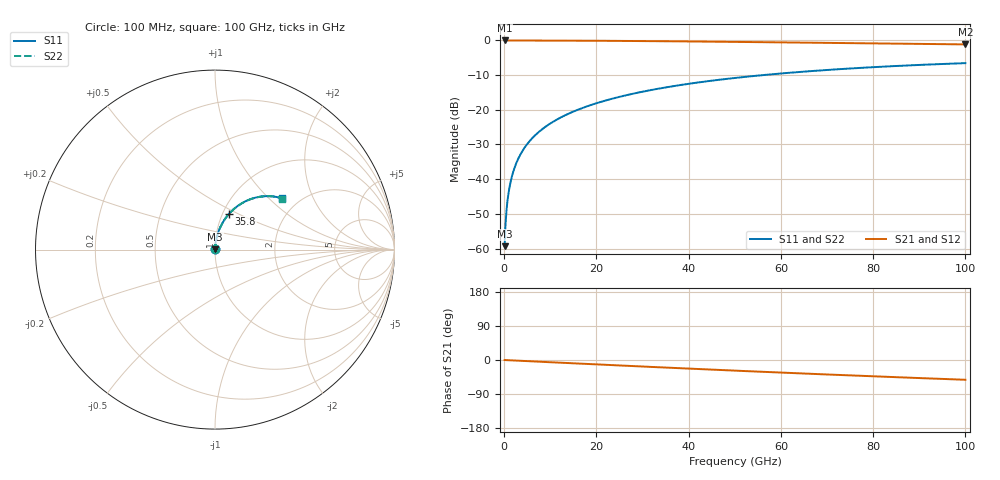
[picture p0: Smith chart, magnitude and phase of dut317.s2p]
! Touchstone file exported from HFSS 2026.1.0
!  File:  C:/ffzhzh/LocalFiles/Ansys_Project_Files/temp_train_RDL_317_1783502641_9504.aedt
!  Generated:  05:25:20 PM Jul  8, 2026
!  Design:  RDL
!  Project:  temp_train_RDL_317_1783502641_9504
! Variables:
!  h_bsmrdl = 2um
!  h_ox = 20um
!  h_rdl = 5um
!  h_sub = 80um
!  h_tmrdl = 2.8um
!  h_tsv = 80um
!  h_via = 3um
!  l_bsmrdl = 300um
!  l_sub = 515.07um
!  l_tmrdl = 115.07um
!  m_sub = 200um
!  pitch = 59.86um
!  r_tsv = 6um
!  s_tmrdl = 10um
!  w_bsmrdl = 18um
!  w_sub = 500um
!  w_tmrdl = 29.56um
!  x_tsv_center1 = 129.85um
!  x_tsv_center2 = 447.85um
!  x_tsv_center3 = 592.48um
!  x_tsv_center4 = 910.48um
!  x_tsv_center5 = 1055.11um
!  x_tsv_center6 = 1373.11um
# GHz S MA R 50.000000
! Terminal data exported
! Port[1] = TM_RDL1_1_T1
! Port[2] = TM_RDL1_1_T2
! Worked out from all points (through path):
!   1000 points, 100 MHz to 100 GHz, reference 50 ohm
!   highest |S21| = -0.01 dB at 100 MHz (marker M1); lowest = -1.1 dB at 100 GHz (marker M2)
!   group delay of S21, straight-line fit = 1.45 ps
!   lowest |S11| = -59.3 dB at 100 MHz (marker M3), VSWR 1.00, Z = 50.1 + j0.0703 ohm
!   |S11| at or under -10 dB: start of sweep to 56.08 GHz
!   |S22| runs from -59.3 to -6.5 dB; largest |S21 - S12| = 5.2e-15
!   S11 on the Smith chart (normalised r, x): 100 MHz: 1.00, +0.00; 35.8 GHz: 1.07, +0.45; 100 GHz: 1.65, +1.21
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0.1  0.001081 40.5  0.9992 -0.1  0.9992 -0.1  0.001081 40.5
! Gamma 0 0 0 0
! Port Impedance 50 0 50 0
0.4  0.002862 70.7  0.9991 -0.2  0.9991 -0.2  0.002862 70.7
0.8  0.005356 78.5  0.999 -0.5  0.999 -0.5  0.005356 78.5
1.1  0.007244 81.0  0.9989 -0.7  0.9989 -0.7  0.007244 81.0
1.4  0.009144 82.4  0.9989 -0.8  0.9989 -0.8  0.009144 82.4
1.9  0.01232 83.7  0.9988 -1.1  0.9988 -1.1  0.01232 83.7
2.5  0.01615 84.4  0.9987 -1.5  0.9987 -1.5  0.01615 84.4
3.2  0.02062 84.8  0.9986 -1.9  0.9986 -1.9  0.02062 84.8
4  0.02571 84.8  0.9984 -2.4  0.9984 -2.4  0.02571 84.8
5  0.03206 84.6  0.9981 -2.9  0.9981 -2.9  0.03206 84.6
6.1  0.03902 84.2  0.9977 -3.6  0.9977 -3.6  0.03902 84.2
7.4  0.04721 83.7  0.9972 -4.3  0.9972 -4.3  0.04721 83.6
8.9  0.05661 82.9  0.9966 -5.2  0.9966 -5.2  0.05661 82.9
12.4  0.0783 81.1  0.9947 -7.2  0.9947 -7.2  0.0783 81.1
16.8  0.1051 78.7  0.9917 -9.8  0.9917 -9.8  0.1051 78.7
24.2  0.1491 74.8  0.9855 -14.0  0.9855 -14.0  0.1491 74.7
33.4  0.2014 69.8  0.9756 -19.1  0.9756 -19.1  0.2014 69.8
35.8  0.2145 68.5  0.9727 -20.4  0.9727 -20.4  0.2145 68.5
50.1  0.2881 61.0  0.953 -28.1  0.953 -28.1  0.2881 61.0
66.7  0.362 52.7  0.9271 -36.6  0.9271 -36.6  0.362 52.6
83.4  0.4231 44.8  0.9008 -44.6  0.9008 -44.6  0.423 44.7
100  0.4707 37.3  0.8767 -52.2  0.8767 -52.2  0.4706 37.2
